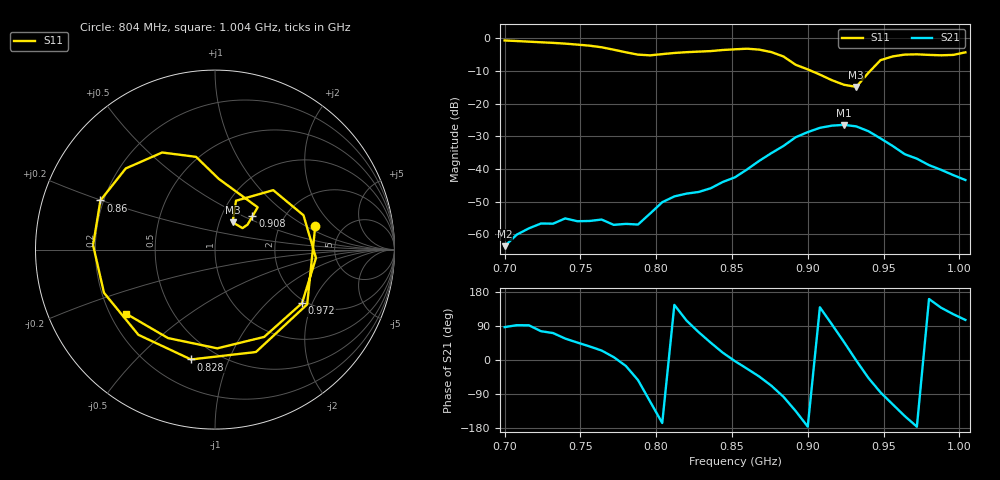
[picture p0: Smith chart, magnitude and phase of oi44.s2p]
# Hz S RI R 50
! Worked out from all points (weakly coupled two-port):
!   39 points, 700 MHz to 1.004 GHz, reference 50 ohm
!   highest |S21| = -26.48 dB at 924 MHz (marker M1); lowest = -63.6 dB at 700 MHz (marker M2)
!   lowest |S11| = -14.8 dB at 932 MHz (marker M3), VSWR 1.44, Z = 57.8 + j18.2 ohm
!   |S11| at or under -10 dB: 902.5 MHz to 941.2 MHz (38.66 MHz wide, 4.19 % of centre)
!   S12 and S22 are empty: the file has one direction only
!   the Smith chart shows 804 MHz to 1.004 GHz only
!   S11 on the Smith chart (normalised r, x): 804 MHz: 3.16, +1.23; 828 MHz: 0.37, -0.74; 860 MHz: 0.19, +0.20; 908 MHz: 1.40, +0.56; 972 MHz: 1.91, -1.68; 1.004 GHz: 0.26, -0.30
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7e8  0.7608 0.5325  3.62e-05 0.000658  0 0  0 0
7.24e8  0.8308 -0.2601  0.000355 0.00142  0 0  0 0
7.4e8  0.4453 -0.7008  0.000967 0.00146  0 0  0 0
7.56e8  -0.1966 -0.7474  0.0013 0.000939  0 0  0 0
7.72e8  -0.6442 -0.1856  0.00138 0.000183  0 0  0 0
7.8e8  -0.5679 0.2264  0.00139 -0.000392  0 0  0 0
7.88e8  -0.2161 0.5205  0.000851 -0.00113  0 0  0 0
7.96e8  0.2596 0.4845  -0.000701 -0.00196  0 0  0 0
8.04e8  0.5586 0.1309  -0.00301 -0.000737  0 0  0 0
8.2e8  0.2282 -0.5706  -0.00103 0.00407  0 0  0 0
8.28e8  -0.1338 -0.6121  0.00126 0.00427  0 0  0 0
8.52e8  -0.6793 0.0253  0.00746 -0.000393  0 0  0 0
8.6e8  -0.6382 0.274  0.00907 -0.00386  0 0  0 0
8.76e8  -0.2945 0.541  0.00659 -0.0162  0 0  0 0
9e8  0.2377 0.2358  -0.0366 -0.00268  0 0  0 0
9.08e8  0.2085 0.1851  -0.0323 0.028  0 0  0 0
9.24e8  0.1532 0.1197  0.0324 0.0346  0 0  0 0
9.32e8  0.098 0.1521  0.0449 -0.00105  0 0  0 0
9.56e8  0.4931 0.1911  -0.0102 -0.0201  0 0  0 0
9.72e8  0.485 -0.298  -0.0144 -0.00101  0 0  0 0
9.88e8  0.0128 -0.5501  -0.0072 0.00651  0 0  0 0
1.004e9  -0.4966 -0.3562  -0.00184 0.00653  0 0  0 0
